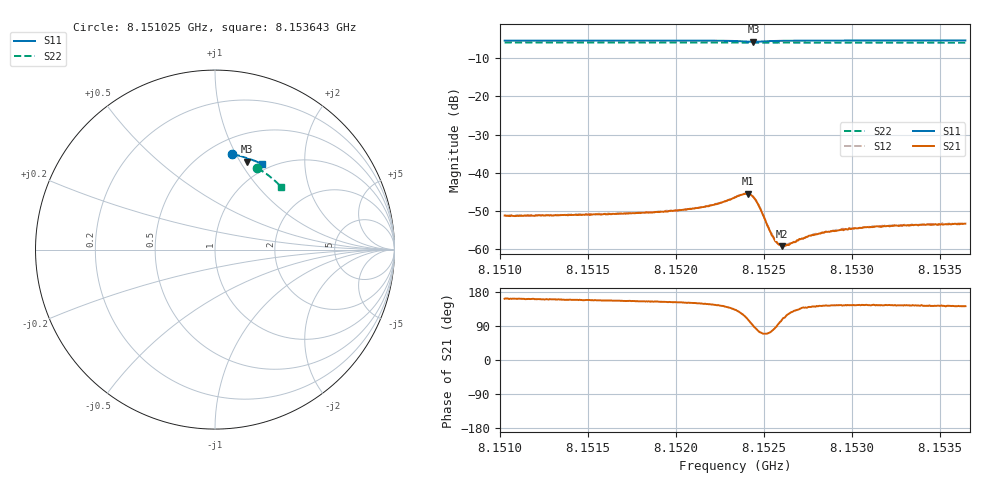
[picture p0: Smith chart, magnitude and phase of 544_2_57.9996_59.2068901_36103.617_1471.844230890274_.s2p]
#  HZ  S  RI  R  50.00
! Rohde & Schwarz Vector Network Analyzer
! Rohde-Schwarz,ZNB20-2Port,1311601062101988,3.16
! Created: UTC 3/21/2024, 1:14:43 AM
! freq[Hz]  re:S11  im:S11  re:S21  im:S21  re:S12  im:S12  re:S22  im:S22
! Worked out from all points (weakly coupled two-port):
!   401 points, 8.151025 GHz to 8.153643 GHz, reference 50 ohm
!   highest |S21| = -45.51 dB at 8.152406 GHz (marker M1); lowest = -59.3 dB at 8.152603 GHz (marker M2)
!   lowest |S11| = -5.7 dB at 8.152439 GHz (marker M3), VSWR 3.18, Z = 39.9 + j53.6 ohm
!   |S11| at or under -10 dB: nowhere
!   |S22| runs from -5.9 to -5.8 dB; largest |S21 - S12| = 0.00012
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8.1510255e9  0.0924 0.5314  -0.00259 0.000855  -0.00257 0.000879  0.2356 0.4535
8.151464e9  0.1229 0.5259  -0.00258 0.00102  -0.00262 0.00109  0.26 0.4394
8.1519025e9  0.1535 0.5181  -0.00272 0.00134  -0.00274 0.00142  0.2835 0.424
8.1520268e9  0.1625 0.5155  -0.00284 0.00151  -0.00281 0.00158  0.2899 0.4193
8.1521708e9  0.1734 0.5112  -0.00305 0.00194  -0.00304 0.00196  0.2974 0.4137
8.1522493e9  0.1798 0.5078  -0.0032 0.00238  -0.00318 0.00243  0.3014 0.4107
8.1523344e9  0.1865 0.5009  -0.0032 0.00349  -0.00316 0.00355  0.3057 0.4072
8.1523802e9  0.1876 0.4943  -0.00257 0.00451  -0.00251 0.0046  0.3079 0.4051
8.1524064e9  0.1853 0.4904  -0.00161 0.00505  -0.00158 0.00511  0.3089 0.4041
8.1524195e9  0.1832 0.4893  -0.000965 0.00508  -0.000941 0.00517  0.3094 0.4036
8.1524391e9  0.1795 0.4894  1.17e-05 0.00476  7.69e-05 0.00478  0.3103 0.4029
8.1524719e9  0.176 0.494  0.000955 0.00346  0.000957 0.00347  0.3116 0.4019
8.1525242e9  0.1793 0.5011  0.000609 0.0018  0.000651 0.00178  0.3145 0.4001
8.1525504e9  0.1823 0.5028  0.00027 0.00142  0.000277 0.00141  0.3158 0.3989
8.1525766e9  0.1852 0.5035  -5.96e-05 0.00118  -2.51e-05 0.00117  0.3172 0.398
8.1526028e9  0.1881 0.5037  -0.00032 0.00103  -0.00033 0.00106  0.3184 0.3971
8.1526289e9  0.1908 0.5037  -0.00054 0.000986  -0.000494 0.00105  0.3197 0.3959
8.1527729e9  0.2032 0.5013  -0.00119 0.000945  -0.00117 0.000949  0.3268 0.3899
8.1528449e9  0.2086 0.4996  -0.00133 0.000994  -0.00131 0.000997  0.3304 0.3867
8.1529562e9  0.2163 0.4968  -0.00145 0.00105  -0.00146 0.00101  0.3355 0.3821
8.1532114e9  0.2335 0.4895  -0.00162 0.00112  -0.00163 0.00119  0.3472 0.3709
8.1536434e9  0.261 0.4765  -0.00168 0.00131  -0.00167 0.00133  0.3664 0.3513
